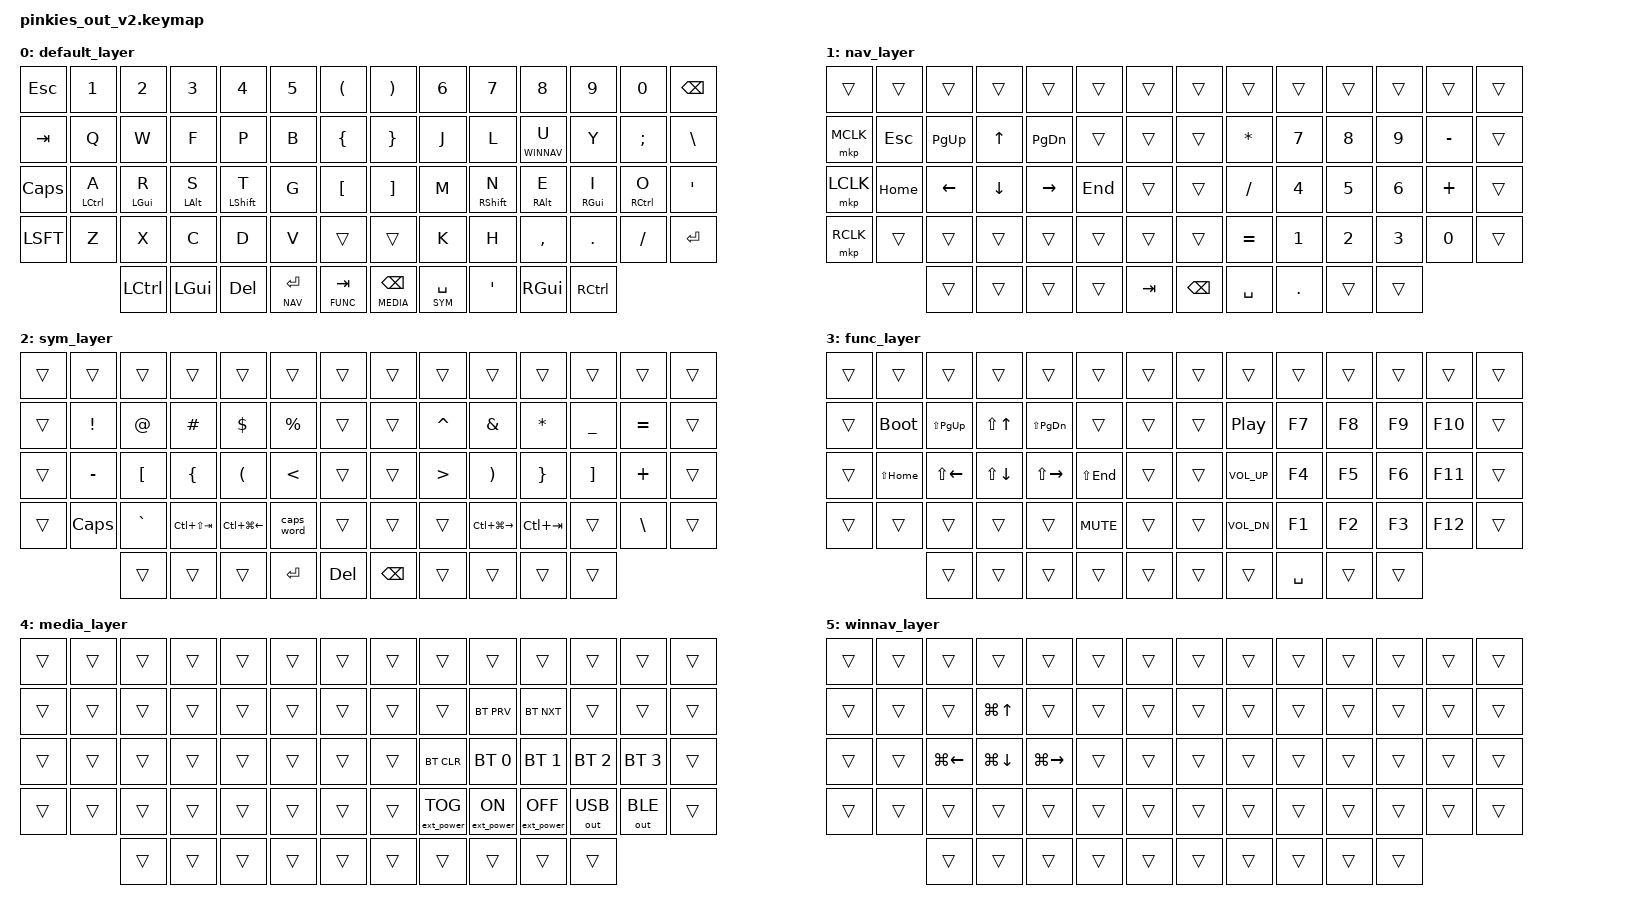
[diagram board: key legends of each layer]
#include <behaviors.dtsi>
#include <dt-bindings/zmk/keys.h>
#include <dt-bindings/zmk/bt.h>
#include <dt-bindings/zmk/ext_power.h>
#include <dt-bindings/zmk/outputs.h>
#include <dt-bindings/zmk/mouse.h>
#include <behaviors/mouse_keys.dtsi>

#define DEFAULT 0
#define NAV     1
#define SYM     2
#define FUNC    3
#define MEDIA   4
#define WINNAV  5

&caps_word {
    continue-list = <UNDERSCORE MINUS>;
};

/ {
    // Left encoder
    encoder_1: encoder_1 {
        compatible = "alps,ec11";
        a-gpios = <&gpio0 7 (GPIO_ACTIVE_LOW | GPIO_PULL_UP)>;
        b-gpios = <&gpio1 9 (GPIO_ACTIVE_LOW | GPIO_PULL_UP)>;
        steps = <80>;
        status = "okay";
    };

    // Right encoder
    encoder_2: encoder_2 {
        compatible = "alps,ec11";
        a-gpios = <&gpio0 12 (GPIO_ACTIVE_LOW | GPIO_PULL_UP)>;
        b-gpios = <&gpio0 19 (GPIO_ACTIVE_LOW | GPIO_PULL_UP)>;
        steps = <80>;
        status = "okay";
    };
    
    sensors {
        compatible = "zmk,keymap-sensors";
        sensors = <&encoder_1 &encoder_2>;
        triggers-per-rotation = <20>;
    };
};


/ {
    combos {
        compatible = "zmk,combos";
        combo_undo {
            timeout-ms = <50>;
            key-positions = <44 45>;
            bindings = <&kp LC(Z)>;
        };
    };
};

/ {
    behaviors {
        hm: homerow_mods {
            compatible = "zmk,behavior-hold-tap";
            #binding-cells = <2>;
            tapping-term-ms = <200>;
            flavor = "tap-preferred";
            bindings = <&kp>, <&kp>;
        };
        hs: homerow_shift {
            compatible = "zmk,behavior-hold-tap";
            #binding-cells = <2>;
            tapping-term-ms = <175>;
            flavor = "balanced";
            bindings = <&kp>, <&kp>;
        };
    };


    keymap {
        compatible = "zmk,keymap";

        default_layer {
            // The encoder bindings are defined in the boards/nice_nano_v2.keymap since they're only supported on the nice!nano, and not pro micro format (vikoto/svlinky)
            // sensor-bindings = <&inc_dec_kp C_VOLUME_UP C_VOLUME_DOWN &inc_dec_kp C_VOLUME_UP C_VOLUME_DOWN>;
            
            bindings = <
    &kp ESC    &kp N1      &kp N2      &kp N3      &kp N4        &kp N5       &kp LPAR             &kp RPAR        &kp N6         &kp N7        &kp N8        &kp N9      &kp N0      &kp BSPC
    &kp TAB    &kp Q       &kp W       &kp F       &kp P         &kp B        &kp LBRC             &kp RBRC        &kp J          &kp L         &lt WINNAV U  &kp Y       &kp SEMI    &kp BSLH
    &kp CAPS   &hm LCTL A  &hm LGUI R  &hm LALT S  &hs LSHIFT T  &kp G        &kp LBKT             &kp RBKT        &kp M    &hs RSHIFT N  &hm RALT E    &hm RGUI I  &hm RCTL O  &kp SQT
    &kp LSFT   &kp Z       &kp X       &kp C       &kp D         &kp V        &trans               &trans          &kp K          &kp H         &kp COMMA     &kp DOT     &kp FSLH    &kp RET
                           &kp LCTL    &kp LGUI    &kp DEL       &lt NAV RET  &lt FUNC TAB         &lt MEDIA BSPC  &lt SYM SPACE  &kp SQT       &kp RGUI      &kp RCTL
            >;
        };

        nav_layer {
            bindings = <
    &trans     &trans       &trans       &trans      &trans        &trans      &trans               &trans     &trans        &trans       &trans        &trans      &trans      &trans
    &mkp MCLK  &kp ESC      &kp PG_UP    &kp UP      &kp PG_DN     &trans      &trans               &trans     &kp ASTRK     &kp N7       &kp N8        &kp N9      &kp MINUS   &trans
    &mkp LCLK  &kp HOME     &kp LEFT     &kp DOWN    &kp RIGHT     &kp END     &trans               &trans     &kp FSLH      &kp N4       &kp N5        &kp N6      &kp PLUS    &trans
    &mkp RCLK  &trans       &trans       &trans      &trans        &trans      &trans               &trans     &kp EQUAL     &kp N1       &kp N2        &kp N3      &kp N0      &trans
                            &trans       &trans      &trans        &trans       &kp TAB       &kp BSPC         &kp SPACE     &kp DOT      &trans        &trans
            >;
        };

        sym_layer {
            bindings = <
    &trans     &trans       &trans       &trans          &trans           &trans        &trans         &trans         &trans        &trans            &trans        &trans      &trans      &trans
    &trans     &kp EXCL     &kp AT       &kp HASH        &kp DLLR         &kp PRCNT     &trans         &trans         &kp CARET     &kp AMPS          &kp ASTRK     &kp UNDER   &kp EQUAL   &trans
    &trans     &kp MINUS    &kp LBKT     &kp LBRC        &kp LPAR         &kp LT        &trans         &trans         &kp GT        &kp RPAR          &kp RBRC      &kp RBKT    &kp PLUS    &trans
    &trans     &kp CAPS     &kp GRAVE    &kp LC(LS(TAB)) &kp LC(LG(LEFT)) &caps_word    &trans         &trans         &trans        &kp LC(LG(RIGHT)) &kp LC(TAB)   &trans      &kp BSLH    &trans
                            &trans       &trans          &trans           &kp RET       &kp DEL        &kp BSPC       &trans        &trans            &trans        &trans
            >;
        };

        func_layer {
            bindings = <
    &trans     &trans       &trans        &trans       &trans        &trans        &trans             &trans     &trans           &trans       &trans        &trans      &trans      &trans
    &trans     &bootloader  &kp LS(PG_UP) &kp LS(UP)   &kp LS(PG_DN) &trans        &trans             &trans     &kp C_PLAY_PAUSE &kp F7       &kp F8        &kp F9      &kp F10     &trans
    &trans     &kp LS(HOME) &kp LS(LEFT)  &kp LS(DOWN) &kp LS(RIGHT) &kp LS(END)   &trans             &trans     &kp K_VOL_UP     &kp F4       &kp F5        &kp F6      &kp F11     &trans
    &trans     &trans       &trans        &trans       &trans        &kp C_MUTE    &trans             &trans     &kp K_VOL_DN     &kp F1       &kp F2        &kp F3      &kp F12     &trans
                            &trans        &trans       &trans        &trans        &trans             &trans     &trans           &kp SPACE    &trans        &trans
            >;
        };

        media_layer {
            bindings = <
    &trans     &trans      &trans         &trans       &trans        &trans        &trans             &trans     &trans             &trans            &trans             &trans         &trans          &trans
    &trans     &trans      &trans         &trans       &trans        &trans        &trans             &trans     &trans             &bt BT_PRV        &bt BT_NXT         &trans         &trans          &trans
    &trans     &trans      &trans         &trans       &trans        &trans        &trans             &trans     &bt BT_CLR         &bt BT_SEL 0      &bt BT_SEL 1       &bt BT_SEL 2   &bt BT_SEL 3    &trans
    &trans     &trans      &trans         &trans       &trans        &trans        &trans             &trans     &ext_power EP_TOG  &ext_power EP_ON  &ext_power EP_OFF  &out OUT_USB   &out OUT_BLE    &trans
                           &trans         &trans       &trans        &trans        &trans             &trans     &trans             &trans            &trans             &trans
            >;
        };

        winnav_layer {
            bindings = <
    &trans     &trans       &trans       &trans       &trans        &trans        &trans             &trans     &trans      &trans      &trans      &trans      &trans      &trans
    &trans     &trans       &trans       &kp LG(UP)   &trans        &trans        &trans             &trans     &trans      &trans      &trans      &trans      &trans      &trans
    &trans     &trans       &kp LG(LEFT) &kp LG(DOWN) &kp LG(RIGHT) &trans        &trans             &trans     &trans      &trans      &trans      &trans      &trans      &trans
    &trans     &trans       &trans       &trans       &trans        &trans        &trans             &trans     &trans      &trans      &trans      &trans      &trans      &trans
                            &trans       &trans       &trans        &trans        &trans             &trans     &trans      &trans      &trans      &trans
            >;
        };
    };
};
